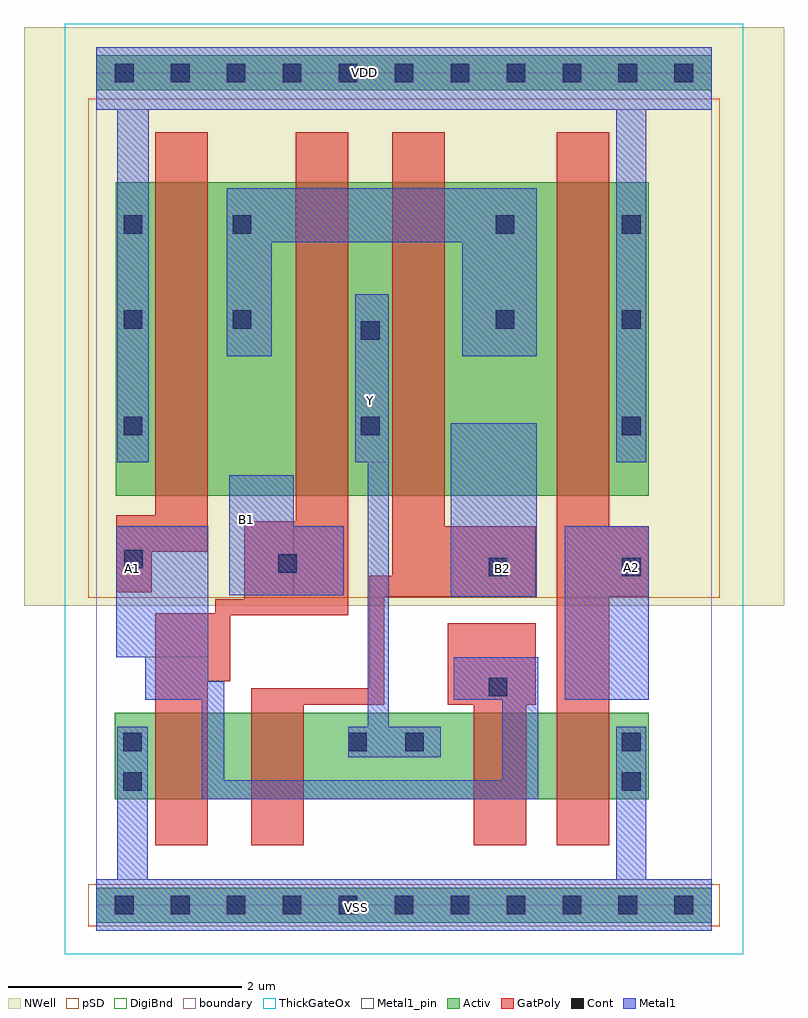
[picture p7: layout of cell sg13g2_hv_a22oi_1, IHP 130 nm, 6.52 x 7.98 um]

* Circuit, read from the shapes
.subckt sg13g2_hv_a22oi_1 A1 A2 B1 B2 VDD VSS Y
XM1 n1 B1 VSS VSS sg13_hv_nmos w=0.74u l=0.45u
XM2 Y B2 n1 VSS sg13_hv_nmos w=0.74u l=0.45u
XM3 n2 A1 Y VSS sg13_hv_nmos w=0.74u l=0.45u
XM4 VSS A2 n2 VSS sg13_hv_nmos w=0.74u l=0.45u
XM5 n3 A1 VDD VDD sg13_hv_pmos w=2.69u l=0.45u
XM6 Y B1 n3 VDD sg13_hv_pmos w=2.69u l=0.45u
XM7 n3 B2 Y VDD sg13_hv_pmos w=2.69u l=0.45u
XM8 VDD A2 n3 VDD sg13_hv_pmos w=2.69u l=0.45u
.ends

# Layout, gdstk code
import gdstk
lib = gdstk.Library(unit=1e-6, precision=1e-09)
def R(c, l, rs):  # rectangles x0, y0, x1, y1
    for r in rs: c.add(gdstk.rectangle(r[:2], r[2:], *l))
def A(c, l, x, y, w, h, nx, ny, dx, dy):  # array of equal rectangles
    R(c, l, [(x+i*dx, y+j*dy, x+i*dx+w, y+j*dy+h) for i in range(nx) for j in range(ny)])
def P(c, l, *ps):  # polygons
    for p in ps: c.add(gdstk.Polygon(p, *l))
Activ = (1, 0)
GatPoly = (5, 0)
Cont = (6, 0)
Metal1 = (8, 0)
Metal1_pin = (8, 2)
pSD = (14, 0)
DigiBnd = (16, 0)
NWell = (31, 0)
ThickGateOx = (44, 0)
boundary = (189, 4)

sg13g2_hv_a22oi_1 = lib.new_cell('sg13g2_hv_a22oi_1')
R(sg13g2_hv_a22oi_1, Activ, [(0,-0.15,5.28,0.15), (0.16,0.91,4.74,1.65), (0.165,3.51,4.74,6.2), (0,6.99,5.28,7.29)])
P(sg13g2_hv_a22oi_1, GatPoly, [(0.505,0.515),(0.505,2.505),(1.02,2.505),(1.02,2.625),(1.27,2.625),(1.27,3.295),(1.71,3.295),(1.71,6.63),(2.16,6.63),(2.16,2.485),(1.15,2.485),(1.15,1.92),(0.955,1.92),(0.955,0.515)],
  [(3.95,0.515),(3.95,6.63),(4.4,6.63),(4.4,3.25),(4.74,3.25),(4.74,2.645),(4.4,2.645),(4.4,0.515)],
  [(3.24,0.515),(3.24,1.72),(3.015,1.72),(3.015,2.42),(3.77,2.42),(3.77,1.72),(3.69,1.72),(3.69,0.515)],
  [(0.17,2.685),(0.17,3.345),(0.505,3.345),(0.505,6.63),(0.955,6.63),(0.955,3.03),(0.475,3.03),(0.475,2.685)],
  [(1.33,0.515),(1.33,1.86),(2.34,1.86),(2.34,2.825),(2.54,2.825),(2.54,6.63),(2.99,6.63),(2.99,3.25),(3.77,3.25),(3.77,2.645),(2.47,2.645),(2.47,1.72),(1.78,1.72),(1.78,0.515)])
A(sg13g2_hv_a22oi_1, Cont, 0.16, -0.08, 0.16, 0.16, 11, 2, 0.48, 7.14)
R(sg13g2_hv_a22oi_1, Cont, [(0.23,0.98,0.39,1.14), (4.51,0.98,4.67,1.14), (0.23,1.32,0.39,1.48), (2.16,1.32,2.32,1.48), (2.65,1.32,2.81,1.48), (4.51,1.32,4.67,1.48), (3.365,1.79,3.525,1.95), (3.365,2.82,3.525,2.98), (4.51,2.82,4.67,2.98), (1.56,2.85,1.72,3.01), (0.24,2.89,0.4,3.05), (0.235,4.03,0.395,4.19), (2.27,4.03,2.43,4.19), (4.51,4.03,4.67,4.19), (2.27,4.85,2.43,5.01), (0.235,4.945,0.395,5.105), (1.17,4.945,1.33,5.105), (3.425,4.945,3.585,5.105), (4.51,4.945,4.67,5.105), (0.235,5.76,0.395,5.92), (1.17,5.76,1.33,5.92), (3.425,5.76,3.585,5.92), (4.51,5.76,4.67,5.92)])
R(sg13g2_hv_a22oi_1, Metal1, [(4.02,1.76,4.74,3.25), (3.04,2.645,3.78,4.135)])
P(sg13g2_hv_a22oi_1, Metal1, [(2.16,1.27),(2.16,1.53),(2.33,1.53),(2.33,3.8),(2.22,3.8),(2.22,5.24),(2.51,5.24),(2.51,1.53),(2.955,1.53),(2.955,1.27)],
  [(1.14,2.66),(1.14,3.69),(1.695,3.69),(1.695,3.25),(2.125,3.25),(2.125,2.66)],
  [(1.12,4.71),(1.12,6.15),(3.78,6.15),(3.78,4.71),(3.14,4.71),(3.14,5.685),(1.505,5.685),(1.505,4.71)],
  [(0,-0.22),(0,0.22),(0.18,0.22),(0.18,1.53),(0.44,1.53),(0.44,0.22),(4.46,0.22),(4.46,1.53),(4.72,1.53),(4.72,0.22),(5.28,0.22),(5.28,-0.22)],
  [(0.905,0.91),(0.905,1.76),(0.42,1.76),(0.42,2.125),(0.17,2.125),(0.17,3.25),(0.96,3.25),(0.96,1.92),(1.1,1.92),(1.1,1.07),(3.485,1.07),(3.485,1.76),(3.065,1.76),(3.065,2.125),(3.79,2.125),(3.79,0.91)],
  [(0.18,3.8),(0.18,6.825),(0,6.825),(0,7.36),(5.28,7.36),(5.28,6.825),(4.72,6.825),(4.72,3.8),(4.46,3.8),(4.46,6.825),(0.45,6.825),(0.45,3.8)])
R(sg13g2_hv_a22oi_1, Metal1_pin, [(0,-0.22,5.28,0.22), (4.02,1.76,4.74,3.25), (0.17,2.125,0.96,3.25), (3.04,2.645,3.78,4.135), (1.14,2.66,1.695,3.69), (2.22,3.8,2.51,5.24), (0,6.825,5.28,7.36)])
R(sg13g2_hv_a22oi_1, pSD, [(-0.07,-0.18,5.35,0.18), (-0.07,2.635,5.35,6.92)])
R(sg13g2_hv_a22oi_1, DigiBnd, [(0,0,5.28,7.14)])
R(sg13g2_hv_a22oi_1, NWell, [(-0.62,2.57,5.9,7.53)])
R(sg13g2_hv_a22oi_1, ThickGateOx, [(-0.27,-0.42,5.55,7.56)])
R(sg13g2_hv_a22oi_1, boundary, [(0,0,5.28,7.14)])
sg13g2_hv_a22oi_1.add(gdstk.Label('Y', (2.35,4.33), layer=8, texttype=25))
sg13g2_hv_a22oi_1.add(gdstk.Label('A2', (4.59,2.9), layer=8, texttype=25))
sg13g2_hv_a22oi_1.add(gdstk.Label('VDD', (2.3,7.14), layer=8, texttype=25))
sg13g2_hv_a22oi_1.add(gdstk.Label('B1', (1.285,3.31), layer=8, texttype=25))
sg13g2_hv_a22oi_1.add(gdstk.Label('A1', (0.315,2.885), layer=8, texttype=25))
sg13g2_hv_a22oi_1.add(gdstk.Label('VSS', (2.23,-0.02), layer=8, texttype=25))
sg13g2_hv_a22oi_1.add(gdstk.Label('B2', (3.485,2.885), layer=8, texttype=25))

lib.write_gds('sg13g2_hv_a22oi_1.gds')
